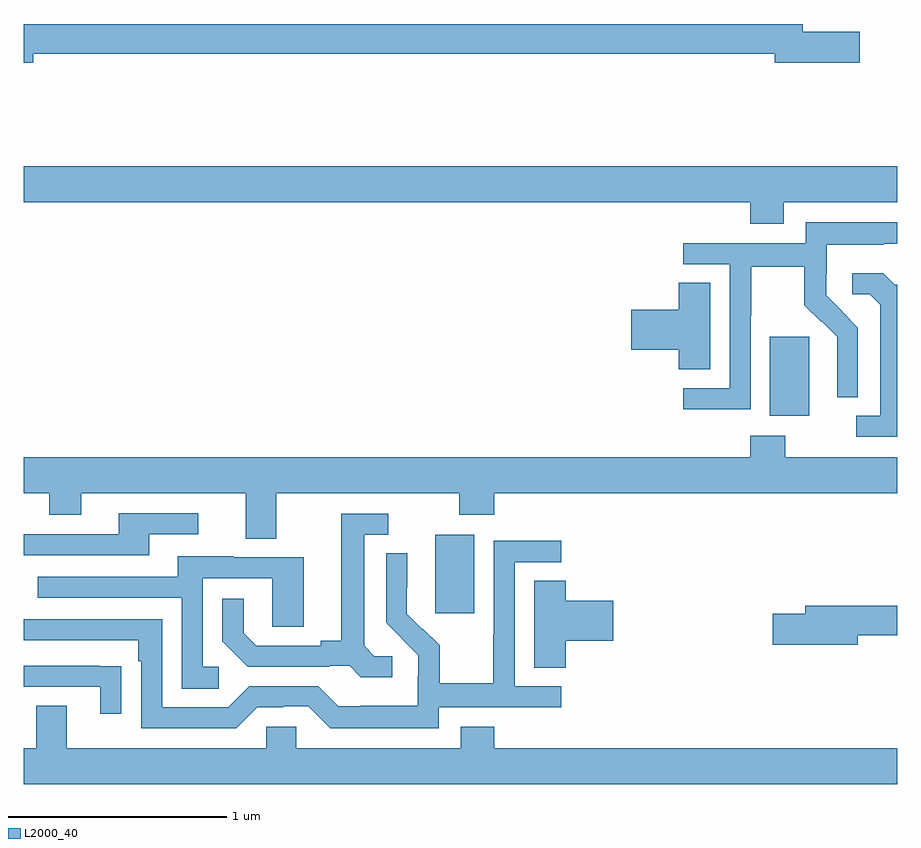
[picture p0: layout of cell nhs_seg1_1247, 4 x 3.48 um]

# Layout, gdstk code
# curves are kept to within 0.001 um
import gdstk
lib = gdstk.Library(unit=1e-6, precision=1e-09)
def R(c, l, rs):  # rectangles x0, y0, x1, y1
    for r in rs: c.add(gdstk.rectangle(r[:2], r[2:], *l))
def P(c, l, *ps):  # polygons
    for p in ps: c.add(gdstk.Polygon(p, *l))
L2000_40 = (2000, 40)

nhs_seg1_1247 = lib.new_cell('nhs_seg1_1247')
R(nhs_seg1_1247, L2000_40, [(180.884,523.209,181.063,523.57), (182.417,524.114,182.596,524.475)])
P(nhs_seg1_1247, L2000_40, [(179.044,525.772),(182.438,525.772),(182.438,525.73),(182.827,525.73),(182.827,525.872),(182.566,525.872),(182.566,525.908),(179,525.908),(179,525.73),(179.044,525.73)],
  [(182.479,525.092),(183,525.092),(183,525.256),(179,525.256),(179,525.092),(182.327,525.092),(182.327,524.993),(182.479,524.993)],
  [(182.328,524.572),(182.331,524.572),(182.331,524.796),(182.575,524.796),(182.575,524.621),(182.652,524.544),(182.655,524.547),(182.726,524.477),(182.726,524.354),(182.724,524.354),(182.724,524.2),(182.82,524.2),(182.82,524.518),(182.674,524.666),(182.674,524.763),(182.676,524.763),(182.676,524.897),(182.939,524.897),(182.939,524.901),(183,524.901),(183,525.001),(182.58,525.001),(182.58,524.904),(182.019,524.904),(182.019,524.808),(182.232,524.808),(182.232,524.241),(182.019,524.241),(182.019,524.143),(182.328,524.143)],
  [(183,524.715),(182.988,524.715),(182.936,524.767),(182.793,524.767),(182.793,524.67),(182.874,524.67),(182.921,524.623),(182.921,524.115),(182.811,524.115),(182.811,524.019),(183,524.019)],
  [(182.143,524.723),(182,524.723),(182,524.6),(181.782,524.6),(181.782,524.417),(182,524.417),(182,524.326),(182.143,524.326)],
  [(180.157,523.76),(180.994,523.76),(180.994,523.661),(181.154,523.661),(181.154,523.76),(183,523.76),(183,523.924),(182.487,523.924),(182.487,524.023),(182.327,524.023),(182.327,523.924),(179,523.924),(179,523.76),(179.116,523.76),(179.116,523.661),(179.263,523.661),(179.263,523.76),(180.017,523.76),(180.017,523.552),(180.157,523.552)],
  [(179.575,523.572),(179.8,523.572),(179.8,523.668),(179.435,523.668),(179.435,523.572),(179,523.572),(179,523.476),(179.575,523.476)],
  [(180.688,523.014),(180.606,523.014),(180.559,523.061),(180.559,523.569),(180.67,523.569),(180.67,523.665),(180.455,523.665),(180.455,523.085),(180.359,523.085),(180.359,523.062),(180.064,523.062),(180.007,523.119),(180.007,523.276),(179.91,523.276),(179.91,523.082),(180.026,522.966),(180.398,522.966),(180.398,522.969),(180.492,522.969),(180.544,522.917),(180.688,522.917)],
  [(180.9,522.78),(181.462,522.78),(181.462,522.876),(181.248,522.876),(181.248,523.443),(181.462,523.443),(181.462,523.542),(181.152,523.542),(181.152,523.112),(181.15,523.112),(181.15,522.889),(180.905,522.889),(180.905,523.063),(180.828,523.14),(180.825,523.137),(180.755,523.208),(180.756,523.484),(180.66,523.484),(180.66,523.166),(180.806,523.018),(180.806,522.921),(180.804,522.921),(180.804,522.787),(180.541,522.787),(180.541,522.783),(180.441,522.783),(180.348,522.876),(180.033,522.876),(179.937,522.78),(179.634,522.78),(179.634,523.182),(179,523.182),(179,523.086),(179.525,523.086),(179.525,522.989),(179.538,522.989),(179.538,522.684),(179.973,522.684),(180.069,522.78),(180.188,522.78),(180.188,522.783),(180.303,522.783),(180.403,522.683),(180.9,522.683)],
  [(179.893,522.966),(179.82,522.966),(179.82,523.371),(180.138,523.371),(180.138,523.147),(180.283,523.147),(180.283,523.467),(179.959,523.467),(179.959,523.471),(179.705,523.471),(179.705,523.377),(179.065,523.377),(179.065,523.281),(179.724,523.281),(179.724,522.865),(179.893,522.865)],
  [(181.481,523.085),(181.699,523.085),(181.699,523.268),(181.481,523.268),(181.481,523.358),(181.337,523.358),(181.337,522.961),(181.481,522.961)],
  [(182.818,523.108),(183,523.108),(183,523.244),(182.579,523.244),(182.579,523.208),(182.43,523.208),(182.43,523.066),(182.818,523.066)],
  [(179.447,522.968),(179.345,522.968),(179.345,522.969),(179,522.969),(179,522.873),(179.351,522.873),(179.351,522.75),(179.447,522.75)],
  [(183,522.592),(181.154,522.592),(181.154,522.691),(181.001,522.691),(181.001,522.592),(180.249,522.592),(180.249,522.69),(180.111,522.69),(180.111,522.592),(179.197,522.592),(179.197,522.787),(179.057,522.787),(179.057,522.592),(179,522.592),(179,522.428),(183,522.428)])

lib.write_gds('nhs_seg1_1247.gds')
